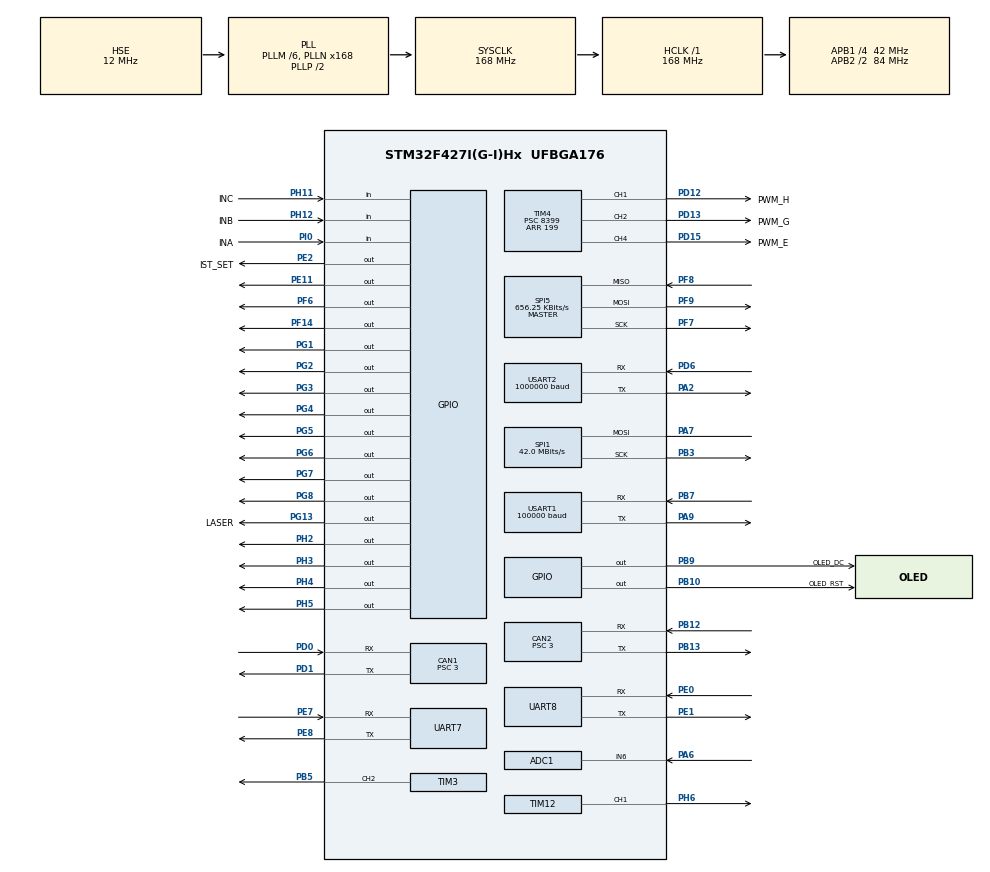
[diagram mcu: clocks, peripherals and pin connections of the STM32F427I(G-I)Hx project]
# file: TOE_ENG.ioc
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ADC1.Channel-1\#ChannelRegularConversion=ADC_CHANNEL_6
ADC1.ContinuousConvMode=ENABLE
ADC1.InjNumberOfConversion=0
ADC1.NbrOfConversion=1
ADC1.NbrOfConversionFlag=1
ADC1.Rank-1\#ChannelRegularConversion=1
ADC1.SamplingTime-1\#ChannelRegularConversion=ADC_SAMPLETIME_3CYCLES
ADC1.master=1
CAN1.ABOM=ENABLE
CAN1.BS1=CAN_BS1_9TQ
CAN1.BS2=CAN_BS2_4TQ
CAN1.CalculateTimeQuantum=71.42857142857143
CAN1.Prescaler=3
CAN2.BS1=CAN_BS1_9TQ
CAN2.BS2=CAN_BS2_4TQ
CAN2.CalculateTimeQuantum=71.42857142857143
CAN2.Prescaler=3
Dma.ADC1.3.Direction=DMA_PERIPH_TO_MEMORY
Dma.ADC1.3.FIFOMode=DMA_FIFOMODE_DISABLE
Dma.ADC1.3.Instance=DMA2_Stream0
Dma.ADC1.3.MemDataAlignment=DMA_MDATAALIGN_WORD
Dma.ADC1.3.MemInc=DMA_MINC_ENABLE
Dma.ADC1.3.Mode=DMA_NORMAL
Dma.ADC1.3.PeriphDataAlignment=DMA_PDATAALIGN_WORD
Dma.ADC1.3.PeriphInc=DMA_PINC_DISABLE
Dma.ADC1.3.Priority=DMA_PRIORITY_LOW
Dma.Request0=USART1_RX
Dma.Request1=UART7_RX
Dma.Request2=UART8_RX
Dma.Request3=ADC1
Dma.UART7_RX.1.Direction=DMA_PERIPH_TO_MEMORY
Dma.UART7_RX.1.FIFOMode=DMA_FIFOMODE_DISABLE
Dma.UART7_RX.1.Instance=DMA1_Stream3
Dma.UART7_RX.1.MemDataAlignment=DMA_MDATAALIGN_BYTE
Dma.UART7_RX.1.MemInc=DMA_MINC_ENABLE
Dma.UART7_RX.1.Mode=DMA_CIRCULAR
Dma.UART7_RX.1.PeriphDataAlignment=DMA_PDATAALIGN_BYTE
Dma.UART7_RX.1.PeriphInc=DMA_PINC_DISABLE
Dma.UART7_RX.1.Priority=DMA_PRIORITY_LOW
Dma.UART8_RX.2.Direction=DMA_PERIPH_TO_MEMORY
Dma.UART8_RX.2.FIFOMode=DMA_FIFOMODE_DISABLE
Dma.UART8_RX.2.Instance=DMA1_Stream6
Dma.UART8_RX.2.MemDataAlignment=DMA_MDATAALIGN_BYTE
Dma.UART8_RX.2.MemInc=DMA_MINC_ENABLE
Dma.UART8_RX.2.Mode=DMA_CIRCULAR
Dma.UART8_RX.2.PeriphDataAlignment=DMA_PDATAALIGN_BYTE
Dma.UART8_RX.2.PeriphInc=DMA_PINC_DISABLE
Dma.UART8_RX.2.Priority=DMA_PRIORITY_LOW
Dma.USART1_RX.0.Direction=DMA_PERIPH_TO_MEMORY
Dma.USART1_RX.0.FIFOMode=DMA_FIFOMODE_DISABLE
Dma.USART1_RX.0.Instance=DMA2_Stream2
Dma.USART1_RX.0.MemDataAlignment=DMA_MDATAALIGN_BYTE
Dma.USART1_RX.0.MemInc=DMA_MINC_ENABLE
Dma.USART1_RX.0.Mode=DMA_NORMAL
Dma.USART1_RX.0.PeriphDataAlignment=DMA_PDATAALIGN_BYTE
Dma.USART1_RX.0.PeriphInc=DMA_PINC_DISABLE
Dma.USART1_RX.0.Priority=DMA_PRIORITY_LOW
FREERTOS.INCLUDE_vTaskDelayUntil=1
FREERTOS.Tasks01=DEBUGTHREAD,-3,256,debug_thread,Default,NULL,Dynamic,NULL,NULL;CHASSISTHREAD,-3,256,chassis_thread,As weak,NULL,Dynamic,NULL,NULL;GIMBALTHREAD,-3,256,gimbal_thread,As weak,NULL,Dynamic,NULL,NULL;KERNALTHREAD,0,256,kernal_thread,As weak,NULL,Dynamic,NULL,NULL;DETECTHREAD,-3,128,detect_thread,As weak,NULL,Dynamic,NULL,NULL;IMUTHREAD,-3,128,imu_thread,As weak,NULL,Dynamic,NULL,NULL
FREERTOS.configCHECK_FOR_STACK_OVERFLOW=1
IWDG.Prescaler=IWDG_PRESCALER_32
Mcu.Family=STM32F4
Mcu.Name=STM32F427I(G-I)Hx
Mcu.Package=UFBGA176
NVIC.CAN1_RX0_IRQn=true\:6\:0\:true\:false\:true\:true\:true\:true
NVIC.CAN1_TX_IRQn=true\:6\:0\:true\:false\:true\:true\:true\:true
NVIC.CAN2_RX0_IRQn=true\:6\:0\:true\:false\:true\:true\:true\:true
NVIC.CAN2_TX_IRQn=true\:6\:0\:true\:false\:true\:true\:true\:true
NVIC.DMA1_Stream3_IRQn=true\:5\:0\:false\:false\:true\:true\:false\:true
NVIC.DMA1_Stream6_IRQn=true\:5\:0\:false\:false\:true\:true\:false\:true
NVIC.DMA2_Stream0_IRQn=true\:5\:0\:false\:false\:true\:true\:false\:true
NVIC.DMA2_Stream2_IRQn=true\:5\:0\:false\:false\:true\:true\:false\:true
NVIC.PriorityGroup=NVIC_PRIORITYGROUP_4
NVIC.UART7_IRQn=true\:5\:0\:false\:false\:true\:true\:true\:true
NVIC.USART1_IRQn=true\:5\:0\:false\:false\:true\:true\:true\:true
PA13.Mode=Serial_Wire
PA13.Signal=SYS_JTMS-SWDIO
PA14.Mode=Serial_Wire
PA14.Signal=SYS_JTCK-SWCLK
PA2.Mode=Asynchronous
PA2.Signal=USART2_TX
PA6.Signal=ADCx_IN6
PA7.Mode=Simplex_Bidirectional_Master
PA7.Signal=SPI1_MOSI
PA9.Mode=Asynchronous
PA9.Signal=USART1_TX
PB10.GPIO_Label=OLED_RST
PB10.Signal=GPIO_Output
PB12.Mode=Slave
PB12.Signal=CAN2_RX
PB13.Mode=Slave
PB13.Signal=CAN2_TX
PB3.Mode=Simplex_Bidirectional_Master
PB3.Signal=SPI1_SCK
PB5.Signal=S_TIM3_CH2
PB7.Mode=Asynchronous
PB7.Signal=USART1_RX
PB9.GPIO_Label=OLED_DC
PB9.Signal=GPIO_Output
PD0.Mode=Master
PD0.Signal=CAN1_RX
PD1.Mode=Master
PD1.Signal=CAN1_TX
PD12.GPIO_Label=PWM_H
PD12.Signal=S_TIM4_CH1
PD13.GPIO_Label=PWM_G
PD13.Signal=S_TIM4_CH2
PD15.GPIO_Label=PWM_E
PD15.Signal=S_TIM4_CH4
PD6.Mode=Asynchronous
PD6.Signal=USART2_RX
PE0.Mode=Asynchronous
PE0.Signal=UART8_RX
PE1.Mode=Asynchronous
PE1.Signal=UART8_TX
PE11.Signal=GPIO_Output
PE2.GPIO_Label=IST_SET
PE2.Signal=GPIO_Output
PE7.Mode=Asynchronous
PE7.Signal=UART7_RX
PE8.Mode=Asynchronous
PE8.Signal=UART7_TX
PF14.Signal=GPIO_Output
PF6.Signal=GPIO_Output
PF7.Mode=Full_Duplex_Master
PF7.Signal=SPI5_SCK
PF8.Mode=Full_Duplex_Master
PF8.Signal=SPI5_MISO
PF9.Mode=Full_Duplex_Master
PF9.Signal=SPI5_MOSI
PG1.GPIO_PuPd=GPIO_NOPULL
PG1.Signal=GPIO_Output
PG13.GPIO_Label=LASER
PG13.Signal=GPIO_Output
PG2.Signal=GPIO_Output
PG3.Signal=GPIO_Output
PG4.Signal=GPIO_Output
PG5.Signal=GPIO_Output
PG6.Signal=GPIO_Output
PG7.Signal=GPIO_Output
PG8.Signal=GPIO_Output
PH0/OSC_IN.Mode=HSE-External-Oscillator
PH0/OSC_IN.Signal=RCC_OSC_IN
PH1/OSC_OUT.Mode=HSE-External-Oscillator
PH1/OSC_OUT.Signal=RCC_OSC_OUT
PH11.GPIO_Label=INC
PH11.GPIO_PuPd=GPIO_PULLUP
PH11.Signal=GPIO_Input
PH12.GPIO_Label=INB
PH12.GPIO_PuPd=GPIO_PULLUP
PH12.Signal=GPIO_Input
PH2.Signal=GPIO_Output
PH3.Signal=GPIO_Output
PH4.Signal=GPIO_Output
PH5.Signal=GPIO_Output
PH6.Signal=S_TIM12_CH1
PI0.GPIO_Label=INA
PI0.GPIO_PuPd=GPIO_PULLUP
PI0.Signal=GPIO_Input
ProjectManager.HeapSize=0x200
ProjectManager.StackSize=0x400
ProjectManager.TargetToolchain=MDK-ARM V5
RCC.48MHZClocksFreq_Value=84000000
RCC.AHBFreq_Value=168000000
RCC.APB1CLKDivider=RCC_HCLK_DIV4
RCC.APB1Freq_Value=42000000
RCC.APB1TimFreq_Value=84000000
RCC.APB2CLKDivider=RCC_HCLK_DIV2
RCC.APB2Freq_Value=84000000
RCC.APB2TimFreq_Value=168000000
RCC.CortexFreq_Value=168000000
RCC.HCLKFreq_Value=168000000
RCC.HSE_VALUE=12000000
RCC.HSI_VALUE=16000000
RCC.LSE_VALUE=32768
RCC.PLLM=6
RCC.PLLN=168
RCC.PLLSourceVirtual=RCC_PLLSOURCE_HSE
RCC.SYSCLKFreq_VALUE=168000000
RCC.SYSCLKSource=RCC_SYSCLKSOURCE_PLLCLK
RCC.VCOOutputFreq_Value=336000000
SH.ADCx_IN6.0=ADC1_IN6,IN6
SH.S_TIM12_CH1.0=TIM12_CH1,PWM Generation1 CH1
SH.S_TIM3_CH2.0=TIM3_CH2,PWM Generation2 CH2
SH.S_TIM4_CH1.0=TIM4_CH1,PWM Generation1 CH1
SH.S_TIM4_CH2.0=TIM4_CH2,PWM Generation2 CH2
SH.S_TIM4_CH4.0=TIM4_CH4,PWM Generation4 CH4
SPI1.CalculateBaudRate=42.0 MBits/s
SPI1.Direction=SPI_DIRECTION_1LINE
SPI1.Mode=SPI_MODE_MASTER
SPI1.VirtualType=VM_MASTER
SPI5.BaudRatePrescaler=SPI_BAUDRATEPRESCALER_128
SPI5.CalculateBaudRate=656.25 KBits/s
SPI5.Direction=SPI_DIRECTION_2LINES
SPI5.Mode=SPI_MODE_MASTER
SPI5.VirtualType=VM_MASTER
TIM12.Channel-PWM\ Generation1\ CH1=TIM_CHANNEL_1
TIM3.Channel-PWM\ Generation2\ CH2=TIM_CHANNEL_2
TIM3.Prescaler=83
TIM4.Channel-PWM\ Generation1\ CH1=TIM_CHANNEL_1
TIM4.Channel-PWM\ Generation2\ CH2=TIM_CHANNEL_2
TIM4.Channel-PWM\ Generation4\ CH4=TIM_CHANNEL_4
TIM4.OCMode_PWM-PWM\ Generation1\ CH1=TIM_OCMODE_PWM2
TIM4.OCMode_PWM-PWM\ Generation2\ CH2=TIM_OCMODE_PWM2
TIM4.OCMode_PWM-PWM\ Generation4\ CH4=TIM_OCMODE_PWM2
TIM4.Period=199
TIM4.Prescaler=8399
UART7.VirtualMode=Asynchronous
UART8.VirtualMode=Asynchronous
USART1.BaudRate=100000
USART1.Mode=MODE_RX
USART1.Parity=PARITY_EVEN
USART1.VirtualMode=VM_ASYNC
USART2.BaudRate=1000000
USART2.Mode=MODE_TX
USART2.VirtualMode=VM_ASYNC
VP_FREERTOS_VS_CMSIS_V1.Mode=CMSIS_V1
VP_IWDG_VS_IWDG.Mode=IWDG_Activate
board=custom

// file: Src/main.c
/* USER CODE BEGIN Header */
/**
  ******************************************************************************
  * @file           : main.c
  * @brief          : Main program body
  ******************************************************************************
  * @attention
  *
  * <h2><center>&copy; Copyright (c) 2019 STMicroelectronics.
  * All rights reserved.</center></h2>
  *
  * This software component is licensed by ST under BSD 3-Clause license,
  * the "License"; You may not use this file except in compliance with the
  * License. You may obtain a copy of the License at:
  *                        opensource.org/licenses/BSD-3-Clause
  *
  ******************************************************************************
  */
/* USER CODE END Header */

#include "main.h"
#include "cmsis_os.h"
#include "adc.h"
#include "can.h"
#include "dma.h"
#include "iwdg.h"
#include "spi.h"
#include "tim.h"
#include "usart.h"
#include "gpio.h"

/* USER CODE BEGIN Includes */
#include "bsp_uart.h"
#include "STMGood.h"
#include "bsp_can.h"
#include "chassis_thread.h"
#include "bsp_io.h"
#include "kernal_thread.h"
#include "detect_thread.h"
/* USER CODE END Includes */

void SystemClock_Config(void);
void MX_FREERTOS_Init(void);

int main(void)
{

  /* MCU Configuration--------------------------------------------------------*/

  /* Reset of all peripherals, Initializes the Flash interface and the Systick. */
  HAL_Init();

  /* Configure the system clock */
  SystemClock_Config();

  /* Initialize all configured peripherals */
  MX_GPIO_Init();
  MX_DMA_Init();
  MX_CAN1_Init();
  MX_CAN2_Init();
  MX_SPI5_Init();
  MX_TIM12_Init();
  MX_UART7_Init();
  MX_USART1_UART_Init();
  MX_ADC1_Init();
  MX_IWDG_Init();
  MX_SPI1_Init();
  MX_TIM3_Init();
  MX_TIM4_Init();
  MX_UART8_Init();
  MX_USART2_UART_Init();
  /* USER CODE BEGIN 2 */
	USART_InitArgument();
   	HAL_Delay(200);
	CAN_InitArgument();
   	HAL_Delay(200);
	PID_InitArgument();
	   	HAL_Delay(200);
	DETECT_InitArgument();
  GPIO_InitArgument();
		  HAL_Delay(200);
  ADC_InitArgument();
	LED_R_ON;
	MX_IWDG_Init();
  /* USER CODE END 2 */

  /* Call init function for freertos objects (in freertos.c) */
  MX_FREERTOS_Init();

  /* Start scheduler */
  osKernelStart();

  /* We should never get here as control is now taken by the scheduler */

  /* Infinite loop */
  while (1)
  {

  }
}

void SystemClock_Config(void)
{
  RCC_OscInitTypeDef RCC_OscInitStruct = {0};
  RCC_ClkInitTypeDef RCC_ClkInitStruct = {0};

  /** Configure the main internal regulator output voltage
  */
  __HAL_RCC_PWR_CLK_ENABLE();
  __HAL_PWR_VOLTAGESCALING_CONFIG(PWR_REGULATOR_VOLTAGE_SCALE1);
  /** Initializes the CPU, AHB and APB busses clocks
  */
  RCC_OscInitStruct.OscillatorType = RCC_OSCILLATORTYPE_LSI|RCC_OSCILLATORTYPE_HSE;
  RCC_OscInitStruct.HSEState = RCC_HSE_ON;
  RCC_OscInitStruct.LSIState = RCC_LSI_ON;
  RCC_OscInitStruct.PLL.PLLState = RCC_PLL_ON;
  RCC_OscInitStruct.PLL.PLLSource = RCC_PLLSOURCE_HSE;
  RCC_OscInitStruct.PLL.PLLM = 6;
  RCC_OscInitStruct.PLL.PLLN = 168;
  RCC_OscInitStruct.PLL.PLLP = RCC_PLLP_DIV2;
  RCC_OscInitStruct.PLL.PLLQ = 4;
  if (HAL_RCC_OscConfig(&RCC_OscInitStruct) != HAL_OK)
  {
    Error_Handler();
  }
  /** Initializes the CPU, AHB and APB busses clocks
  */
  RCC_ClkInitStruct.ClockType = RCC_CLOCKTYPE_HCLK|RCC_CLOCKTYPE_SYSCLK
                              |RCC_CLOCKTYPE_PCLK1|RCC_CLOCKTYPE_PCLK2;
  RCC_ClkInitStruct.SYSCLKSource = RCC_SYSCLKSOURCE_PLLCLK;
  RCC_ClkInitStruct.AHBCLKDivider = RCC_SYSCLK_DIV1;
  RCC_ClkInitStruct.APB1CLKDivider = RCC_HCLK_DIV4;
  RCC_ClkInitStruct.APB2CLKDivider = RCC_HCLK_DIV2;

  if (HAL_RCC_ClockConfig(&RCC_ClkInitStruct, FLASH_LATENCY_5) != HAL_OK)
  {
    Error_Handler();
  }
}

void Error_Handler(void)
{
}

/************************ (C) COPYRIGHT STMicroelectronics *****END OF FILE****/

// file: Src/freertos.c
/* USER CODE BEGIN Header */
/**
  ******************************************************************************
  * File Name          : freertos.c
  * Description        : Code for freertos applications
  ******************************************************************************
  * @attention
  *
  * <h2><center>&copy; Copyright (c) 2019 STMicroelectronics.
  * All rights reserved.</center></h2>
  *
  * This software component is licensed by ST under Ultimate Liberty license
  * SLA0044, the "License"; You may not use this file except in compliance with
  * the License. You may obtain a copy of the License at:
  *                             www.st.com/SLA0044
  *
  ******************************************************************************
  */
/* USER CODE END Header */

#include "FreeRTOS.h"
#include "task.h"
#include "main.h"
#include "cmsis_os.h"

/* USER CODE BEGIN Includes */
#include "bsp_io.h"
#include "km_handle.h"
#include "bsp_uart.h"
#include "detect_thread.h"
#include "gimbal_thread.h"
#include "bsp_can.h"
#include "chassis_thread.h"
#include "pid.h"
#include "iwdg.h"
#include "kernal_thread.h"
/* USER CODE END Includes */

osThreadId DEBUGTHREADHandle;
osThreadId CHASSISTHREADHandle;
osThreadId GIMBALTHREADHandle;
osThreadId KERNALTHREADHandle;
osThreadId DETECTHREADHandle;
osThreadId IMUTHREADHandle;

void debug_thread(void const * argument);
void chassis_thread(void const * argument);
void gimbal_thread(void const * argument);
void kernal_thread(void const * argument);
void detect_thread(void const * argument);
void imu_thread(void const * argument);

void MX_FREERTOS_Init(void); /* (MISRA C 2004 rule 8.1) */

/* GetIdleTaskMemory prototype (linked to static allocation support) */
void vApplicationGetIdleTaskMemory( StaticTask_t **ppxIdleTaskTCBBuffer, StackType_t **ppxIdleTaskStackBuffer, uint32_t *pulIdleTaskStackSize );

/* Hook prototypes */
void vApplicationStackOverflowHook(xTaskHandle xTask, signed char *pcTaskName);

/* USER CODE BEGIN 4 */
__weak void vApplicationStackOverflowHook(xTaskHandle xTask, signed char *pcTaskName)
{
   /* Run time stack overflow checking is performed if
   configCHECK_FOR_STACK_OVERFLOW is defined to 1 or 2. This hook function is
   called if a stack overflow is detected. */
}
/* USER CODE END 4 */

/* USER CODE BEGIN GET_IDLE_TASK_MEMORY */
static StaticTask_t xIdleTaskTCBBuffer;
static StackType_t xIdleStack[configMINIMAL_STACK_SIZE];

void vApplicationGetIdleTaskMemory( StaticTask_t **ppxIdleTaskTCBBuffer, StackType_t **ppxIdleTaskStackBuffer, uint32_t *pulIdleTaskStackSize )
{
  *ppxIdleTaskTCBBuffer = &xIdleTaskTCBBuffer;
  *ppxIdleTaskStackBuffer = &xIdleStack[0];
  *pulIdleTaskStackSize = configMINIMAL_STACK_SIZE;
  /* place for user code */
}
/* USER CODE END GET_IDLE_TASK_MEMORY */

void MX_FREERTOS_Init(void) {

  /* Create the thread(s) */
  /* definition and creation of DEBUGTHREAD */
  osThreadDef(DEBUGTHREAD, debug_thread, osPriorityIdle, 0, 256);
  DEBUGTHREADHandle = osThreadCreate(osThread(DEBUGTHREAD), NULL);

  /* definition and creation of CHASSISTHREAD */
  osThreadDef(CHASSISTHREAD, chassis_thread, osPriorityIdle, 0, 256);
  CHASSISTHREADHandle = osThreadCreate(osThread(CHASSISTHREAD), NULL);

  /* definition and creation of GIMBALTHREAD */
  osThreadDef(GIMBALTHREAD, gimbal_thread, osPriorityIdle, 0, 256);
  GIMBALTHREADHandle = osThreadCreate(osThread(GIMBALTHREAD), NULL);

  /* definition and creation of KERNALTHREAD */
  osThreadDef(KERNALTHREAD, kernal_thread, osPriorityNormal, 0, 256);
  KERNALTHREADHandle = osThreadCreate(osThread(KERNALTHREAD), NULL);

  /* definition and creation of DETECTHREAD */
  osThreadDef(DETECTHREAD, detect_thread, osPriorityIdle, 0, 128);
  DETECTHREADHandle = osThreadCreate(osThread(DETECTHREAD), NULL);

  /* definition and creation of IMUTHREAD */
  osThreadDef(IMUTHREAD, imu_thread, osPriorityIdle, 0, 128);
  IMUTHREADHandle = osThreadCreate(osThread(IMUTHREAD), NULL);

}

void debug_thread(void const * argument)
{
  /* USER CODE BEGIN debug_thread */
  /* Infinite loop */
  for(;;)
  {
/*
			typedef enum
			{
				MotoLeftUp = 0,MotoRightUp= 1, MotoLeftDown = 2,MotoRightDown= 3,MotoMidUp = 4,	 	MotoMidDown= 5,	MotoNumber= 6,
				MaxId= 20,
			}ChassisModule_ID;
			typedef enum
			{
				 STIR,YAW,PIT,FRIC,CHASSIS,JUDGE,NUC,DEBUS,IMU,COMMU,GYROY,GYROP,
			}module_fps_e;
*/
#if 1
		printf("BULLET FLAG REVENLENT : ##\r\n");
		printf("upLiftPosFlag = %d\r\n",kernal_ctrl.upLiftPosFlag);
		printf("stopFlag = %d\r\n",chassis.stopFlag);
		printf("TargetLiftAngle = %.2f\r\n",chassis.targetPosition);
		printf("CurrentAngle = %.2f\r\n",moto_gimbal[MotoLFlip].total_angle);
		printf("	Target slipPos = %.2f\r\n",	kernal_ctrl.slipTargetPos);
		printf("	Target.flipAngle = %.2f\r\n",kernal_ctrl.flipTargetAngle);
		printf(".targetPosition = %.2f\r\n",chassis.targetPosition);
		printf("SLIP_SWITCH = %d\r\n",Slip_SWITCH);
#endif

#if 0
		printf("CHASSIS REVENLENT : ##\r\n");
		printf("chassis[LeftUp].speed = %d\r\n",moto_chassis[MotoLeftUp].speed_rpm);
		printf("chassis[RightUp].speed = %d\r\n",moto_chassis[MotoRightUp].speed_rpm);
		printf("chassis[LeftDown].speed = %d\r\n",moto_chassis[MotoLeftDown].speed_rpm);
		printf("chassis[RightDown].speed = %d\r\n",moto_chassis[MotoRightDown].speed_rpm);
		printf("chassis[MidUp].speed = %d\r\n",moto_chassis[MotoMidUp].speed_rpm);
		printf("chassis[MidDown].speed = %d\r\n",moto_chassis[MotoMidDown].speed_rpm);
#endif
#if 1
		printf("##FPS REVENLENT : ##\r\n");
//		printf("fps[STIR] = %d\r\n",r_fps[STIR].fps);
//		printf("fps[YAW] = %d\r\n",r_fps[YAW].fps);
//		printf("fps[PIT] = %d\r\n",r_fps[PIT].fps);
//		printf("fps[FRIC] = %d\r\n",r_fps[FRIC].fps);
//		printf("fps[CHASSIS] = %d\r\n",r_fps[CHASSIS].fps);
//		printf("fps[JUDGE] = %d\r\n",r_fps[JUDGE].fps);
//		printf("fps[NUC] = %d\r\n",r_fps[NUC].fps);
		printf("fps[DEBUS] = %d\r\n",r_fps[DEBUS].fps);
		printf("fps[LUP] = %d\r\n",r_fps[LUP].fps);
		printf("fps[RUP] = %d\r\n",r_fps[RUP].fps);
		printf("fps[SLIP] = %d\r\n",r_fps[SLIP].fps);
		printf("fps[RFLIP] = %d\r\n",r_fps[RFLIP].fps);
		printf("fps[LFLIP] = %d\r\n",r_fps[LFLIP].fps);
//		printf("fps[IMU] = %d\r\n",r_fps[IMU].fps);
		printf("fps[COMMU] = %d\r\n",r_fps[COMMU].fps);
//		printf("fps[GYROY] = %d\r\n",r_fps[GYROY].fps);
//		printf("fps[GYROP] = %d\r\n",r_fps[GYROP].fps);
#endif

#if 0
				printf("##RC REVENLENT : ##\r\n");
				printf("rc.ch0 = %d\r\n",rc.ch0);
				printf("rc.ch1 = %d\r\n",rc.ch1);
				printf("rc.sw1 = %d\r\n",rc.sw1);
				printf("rc.sw2 = %d\r\n",rc.sw2);
				printf("chassis,vx = %.3f\r\n",chassis.vx);
				printf("YawTargrtAngle = %.3f\r\n",gimbal.YawTargrtAngle);
#endif
#if 0
				printf("##KM REVENLENT : ##\r\n");
				printf("rc.mouse.l = %d\r\n",rc.mouse.l);
				printf("rc.mouse.x = %d\r\n",rc.mouse.x);
				printf("key_code = %d\r\n",rc.kb.key_code);
#endif

#if 0
			printf("# UPLIFT PID REVENLENT : #\r\n");
			printf("TargetAngle = %.2f\r\n",chassis.targetPosition);
			printf("Currentecd = %d\r\n",moto_chassis[MotoLeftUpLift].ecd);
			printf("CurrentAngle = %.2f\r\n",moto_chassis[MotoLeftUpLift].total_angle);
			printf("AngleError = #%.2f\r\n",pid_out[LiftECD].errNow);
			printf("FirstCtrOut = %.2f\r\n",pid_out[LiftECD].ctrOut);
			printf("CurrentSpd = %.2f\r\n",moto_chassis[MotoLeftUpLift].speed_rpm*0.2);	 // MotoData[RightUpLift].speed_rpm
			printf("CurrentSpdRight = %.2f\r\n",moto_chassis[MotoRightUpLift].speed_rpm*0.2);	 // MotoData[RightUpLift].speed_rpm
			printf("SpdError = %.2f\r\n",pid_in[MotoLUpLft].errNow);
			printf("FinalCtrOut = %d\r\n",(int16_t)pid_in[MotoLUpLft].ctrOut);
			printf("RightFinalCtrOut = %d\r\n",(int16_t)pid_in[MotoRUpLft].ctrOut);
#endif

#if 0
			printf("# SLIP PID REVENLENT : #\r\n");
			printf("	kernal_ctrl.slipPos = %d\r\n",	kernal_ctrl.slipTargetPos);
			printf("Currentecd = %d\r\n",moto_gimbal[MotoSlip].ecd);
			printf("CurrentAngle = %.2f\r\n",moto_gimbal[MotoSlip].total_angle);
			printf("AngleError = #%.2f\r\n",pid_out[SlipECD].errNow);
			printf("FirstCtrOut = %.2f\r\n",pid_out[SlipECD].ctrOut);
			printf("CurrentSpd = %.2f\r\n",moto_gimbal[MotoSlip].speed_rpm*0.2);	 // MotoData[RightUpLift].speed_rpm
			printf("SpdError = %.2f\r\n",pid_in[MotoSlip].errNow);
			printf("FinalCtrOut = %d\r\n",(int16_t)pid_in[MotoSlip].ctrOut);
#endif

#if 0
			printf("# FLIP PID REVENLENT : #\r\n");
			printf("MaxOut = %.2f\r\n",pid_out[FlipECD].MaxOut);
			printf("TargetAngle = %.2f\r\n",kernal_ctrl.flipTargetAngle);
			printf("Currentecd = %d\r\n",moto_gimbal[MotoLFlip].ecd);
			printf("CurrentAngle = %.2f\r\n",moto_gimbal[MotoLFlip].total_angle);
			printf("AngleError = #%.2f\r\n",pid_out[FlipECD].errNow);
			printf("FirstCtrOut = %.2f\r\n",pid_out[FlipECD].ctrOut);
			printf("CurrentSpd = %.2f\r\n",moto_gimbal[MotoLFlip].speed_rpm*0.2);	 // MotoData[RightUpLift].speed_rpm
			printf("CurrentSpdRight = %.2f\r\n",moto_gimbal[MotoLFlip].speed_rpm*0.2);	 // MotoData[RightUpLift].speed_rpm
			printf("SpdError = %.2f\r\n",pid_in[MotoLFlip].errNow);
			printf("FinalCtrOut = %d\r\n",(int16_t)pid_in[MotoLFlip].ctrOut);
			printf("RightFinalCtrOut = %d\r\n",(int16_t)pid_in[MotoRFlip].ctrOut);
#endif

    if (g_err.err_now == NULL)
    {
			LED_G_TOG;
		}
//			ledFlow(1600,8);

		  osDelay(200);
  }
  /* USER CODE END debug_thread */
}

__weak void chassis_thread(void const * argument)
{
  for(;;)
  {
    osDelay(1);
  }
}

__weak void gimbal_thread(void const * argument)
{
  for(;;)
  {
    osDelay(1);
  }
}

__weak void kernal_thread(void const * argument)
{
  for(;;)
  {
    osDelay(1);
  }
}

__weak void detect_thread(void const * argument)
{
  for(;;)
  {
    osDelay(1);
  }
}

__weak void imu_thread(void const * argument)
{
  for(;;)
  {
    osDelay(1);
  }
}

/************************ (C) COPYRIGHT STMicroelectronics *****END OF FILE****/
